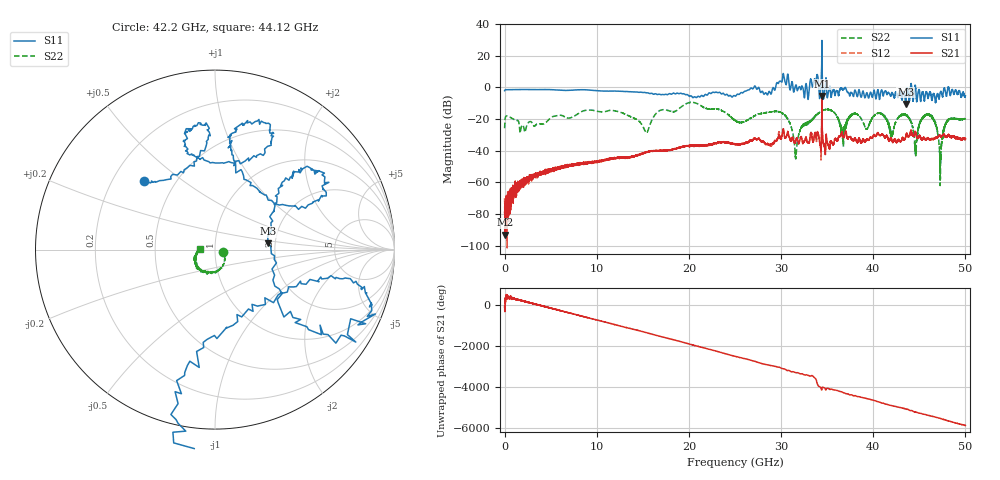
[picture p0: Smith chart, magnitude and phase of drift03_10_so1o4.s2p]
!Created with skrf (http://scikit-rf.org).
# Hz S RI R 50.0
!freq ReS11 ImS11 ReS21 ImS21 ReS12 ImS12 ReS22 ImS22
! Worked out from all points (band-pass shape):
!   10000 points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, 5.3 MHz to 50 GHz, reference 50 ohm
!   highest |S21| = -5.49 dB at 34.43 GHz (marker M1); lowest = -93.1 dB at 80.3 MHz (marker M2)
!   |S21| within 3 dB of the highest: 34.42775 GHz to 34.43365 GHz (5.903 MHz wide, 0.0171 % of centre)
!   lowest |S11| = -10.5 dB at 43.52 GHz (marker M3), VSWR 1.85, Z = 91.8 + j6.93 ohm
!   |S11| at or under -10 dB: 43.50988 GHz to 43.53038 GHz (20.5 MHz wide, 0.0471 % of centre)
!   |S22| runs from -62.0 to -9.4 dB; largest |S21 - S12| = 0.16
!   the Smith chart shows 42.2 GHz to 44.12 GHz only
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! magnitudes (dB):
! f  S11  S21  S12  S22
! 5.3 MHz  -2.1  -78.8  -70.0  -25.8
! 80.3 MHz  -1.5  -93.1  -71.4  -19.2
! 2.33 GHz  -1.4  -58.4  -57.6  -25.7
! 8.34 GHz  -1.5  -48.4  -48.0  -15.4
! 12.46 GHz  -2.5  -44.3  -44.5  -15.5
! 15.38 GHz  -3.5  -41.0  -40.9  -28.5
! 16.67 GHz  -4.4  -40.2  -39.9  -15.3
! 20.45 GHz  -6.5  -36.7  -36.7  -9.5
! 25.01 GHz  -5.5  -35.7  -36.1  -20.9
! 29.96 GHz  3.9  -32.7  -32.2  -15.9
! 31.61 GHz  1.6  -33.5  -33.5  -43.9
! 33.34 GHz  2.5  -30.0  -30.3  -20.5
! 34.43 GHz  29.7  -5.5  -7.4  -14.6
! 36.69 GHz  -1.5  -29.8  -29.8  -28.2
! 37.93 GHz  -3.9  -32.9  -32.8  -16.9
! 41.67 GHz  -3.3  -33.3  -33.4  -23.8
! 43.52 GHz  -10.5  -31.3  -31.2  -17.3
! 44.6 GHz  -0.6  -28.9  -28.8  -42.7
! 46.25 GHz  -4.3  -32.8  -32.8  -17.8
! 47.29 GHz  -3.0  -30.8  -30.5  -58.1
! 48.1 GHz  -0.3  -30.1  -30.4  -20.5
! 50 GHz  -5.3  -32.7  -32.3  -19.5
